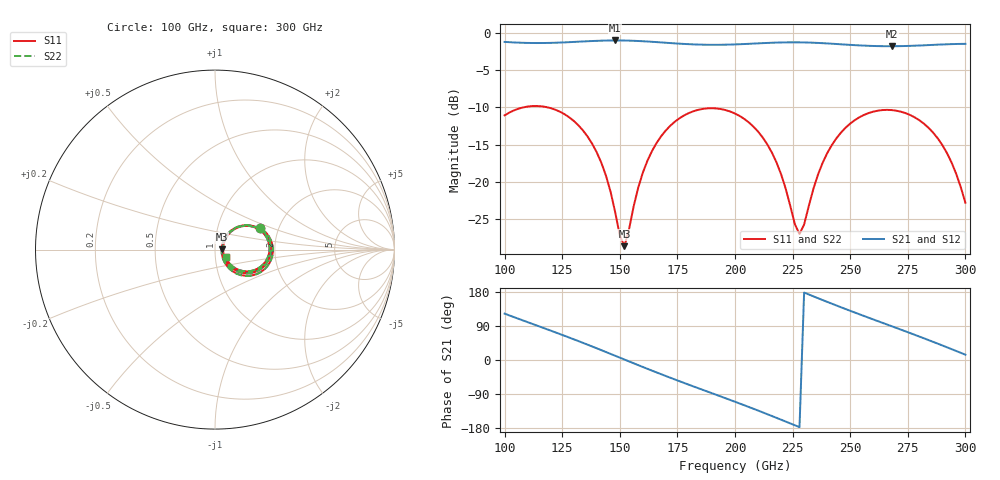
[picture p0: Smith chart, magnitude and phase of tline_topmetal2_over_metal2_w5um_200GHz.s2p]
#  GHZ S DB R 50
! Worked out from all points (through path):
!   101 points, 100 GHz to 300 GHz, reference 50 ohm
!   highest |S21| = -1.06 dB at 148 GHz (marker M1); lowest = -1.8 dB at 268 GHz (marker M2)
!   group delay of S21, straight-line fit = 6.52 ps
!   lowest |S11| = -28.6 dB at 152 GHz (marker M3), VSWR 1.08, Z = 53.9 + j0.27 ohm
!   |S11| at or under -10 dB: start of sweep to 108.3 GHz; 118.5 GHz to end of sweep
!   |S22| runs from -28.8 to -9.8 dB; largest |S21 - S12| = 1e-13
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100  -11.08 25.5  -1.25 122.3  -1.25 122.3  -11.07 25.3
108  -10.02 9.7  -1.37 104.3  -1.37 104.3  -10.01 9.4
118  -9.96 -10.2  -1.40 82.0  -1.40 82.0  -9.96 -10.4
134  -13.09 -41.1  -1.19 45.3  -1.19 45.3  -13.09 -41.4
142  -17.43 -52.7  -1.09 26.0  -1.09 26.0  -17.44 -53.3
148  -24.03 -46.5  -1.06 11.2  -1.06 11.2  -24.09 -47.4
152  -28.58 3.9  -1.07 1.3  -1.07 1.3  -28.81 3.7
160  -18.74 51.0  -1.16 -18.4  -1.16 -18.4  -18.77 51.3
168  -13.85 41.4  -1.32 -37.6  -1.32 -37.6  -13.86 41.5
184  -10.34 11.6  -1.61 -74.3  -1.61 -74.3  -10.34 11.5
200  -10.83 -19.2  -1.59 -110.2  -1.59 -110.2  -10.84 -19.3
216  -16.05 -45.9  -1.37 -147.7  -1.37 -147.7  -16.06 -46.3
228  -26.95 0.3  -1.31 -177.2  -1.31 -177.2  -27.17 0.1
234  -20.94 46.7  -1.36 168.0  -1.36 168.0  -21.00 47.2
240  -16.15 46.5  -1.46 153.5  -1.46 153.5  -16.17 46.9
248  -12.73 34.8  -1.61 134.5  -1.61 134.5  -12.74 35.0
258  -10.77 16.7  -1.78 111.6  -1.78 111.6  -10.78 16.8
268  -10.37 -2.2  -1.83 89.1  -1.83 89.1  -10.38 -2.1
278  -11.34 -20.7  -1.76 66.5  -1.76 66.5  -11.35 -20.7
288  -14.16 -37.5  -1.62 43.1  -1.62 43.1  -14.16 -37.5
294  -17.39 -43.7  -1.55 28.7  -1.55 28.7  -17.39 -43.6
300  -22.77 -35.0  -1.51 14.0  -1.51 14.0  -22.76 -34.9
